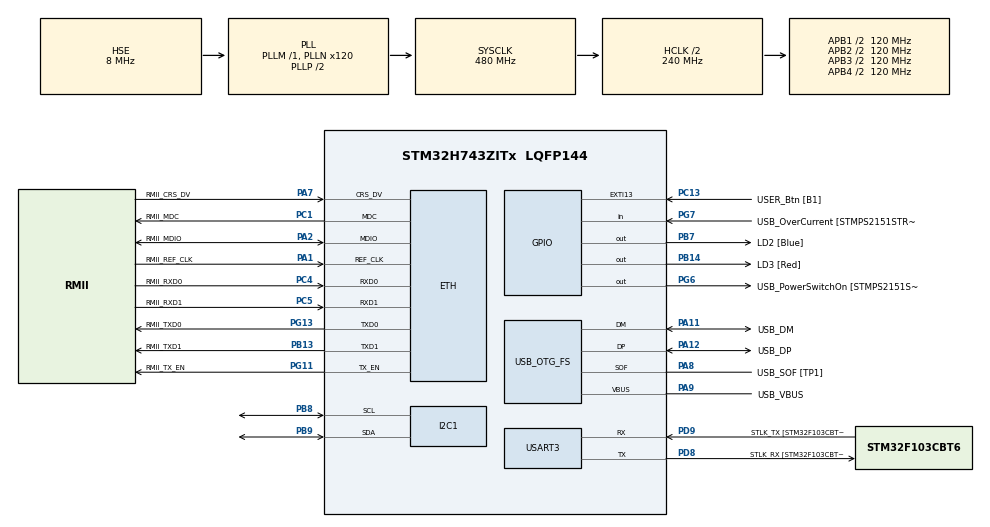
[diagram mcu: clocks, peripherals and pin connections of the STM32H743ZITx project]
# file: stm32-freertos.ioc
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Dma.Request0=USART3_RX
Dma.Request1=USART3_TX
Dma.USART3_RX.0.Direction=DMA_PERIPH_TO_MEMORY
Dma.USART3_RX.0.EventEnable=DISABLE
Dma.USART3_RX.0.FIFOMode=DMA_FIFOMODE_DISABLE
Dma.USART3_RX.0.Instance=DMA1_Stream0
Dma.USART3_RX.0.MemDataAlignment=DMA_MDATAALIGN_BYTE
Dma.USART3_RX.0.MemInc=DMA_MINC_ENABLE
Dma.USART3_RX.0.Mode=DMA_NORMAL
Dma.USART3_RX.0.PeriphDataAlignment=DMA_PDATAALIGN_BYTE
Dma.USART3_RX.0.PeriphInc=DMA_PINC_DISABLE
Dma.USART3_RX.0.Polarity=HAL_DMAMUX_REQ_GEN_RISING
Dma.USART3_RX.0.Priority=DMA_PRIORITY_LOW
Dma.USART3_RX.0.RequestNumber=1
Dma.USART3_RX.0.SignalID=NONE
Dma.USART3_RX.0.SyncEnable=DISABLE
Dma.USART3_RX.0.SyncPolarity=HAL_DMAMUX_SYNC_NO_EVENT
Dma.USART3_RX.0.SyncRequestNumber=1
Dma.USART3_RX.0.SyncSignalID=NONE
Dma.USART3_TX.1.Direction=DMA_MEMORY_TO_PERIPH
Dma.USART3_TX.1.EventEnable=DISABLE
Dma.USART3_TX.1.FIFOMode=DMA_FIFOMODE_DISABLE
Dma.USART3_TX.1.Instance=DMA1_Stream1
Dma.USART3_TX.1.MemDataAlignment=DMA_MDATAALIGN_BYTE
Dma.USART3_TX.1.MemInc=DMA_MINC_ENABLE
Dma.USART3_TX.1.Mode=DMA_NORMAL
Dma.USART3_TX.1.PeriphDataAlignment=DMA_PDATAALIGN_BYTE
Dma.USART3_TX.1.PeriphInc=DMA_PINC_DISABLE
Dma.USART3_TX.1.Polarity=HAL_DMAMUX_REQ_GEN_RISING
Dma.USART3_TX.1.Priority=DMA_PRIORITY_LOW
Dma.USART3_TX.1.RequestNumber=1
Dma.USART3_TX.1.SignalID=NONE
Dma.USART3_TX.1.SyncEnable=DISABLE
Dma.USART3_TX.1.SyncPolarity=HAL_DMAMUX_SYNC_NO_EVENT
Dma.USART3_TX.1.SyncRequestNumber=1
Dma.USART3_TX.1.SyncSignalID=NONE
ETH.MediaInterface=HAL_ETH_RMII_MODE
I2C1.Timing=0x307075B1
Mcu.Family=STM32H7
Mcu.Name=STM32H743ZITx
Mcu.Package=LQFP144
NVIC.DMA1_Stream0_IRQn=true\:0\:0\:false\:false\:true\:false\:true\:true
NVIC.DMA1_Stream1_IRQn=true\:0\:0\:false\:false\:true\:false\:true\:true
NVIC.PriorityGroup=NVIC_PRIORITYGROUP_4
NVIC.TIM17_IRQn=true\:15\:0\:false\:false\:true\:false\:true\:true
NVIC.TimeBase=TIM17_IRQn
NVIC.TimeBaseIP=TIM17
NVIC.USART3_IRQn=true\:0\:0\:false\:false\:true\:true\:true\:true
PA1.GPIO_Label=RMII_REF_CLK
PA1.Mode=RMII
PA1.Signal=ETH_REF_CLK
PA10.GPIO_Label=USB_ID
PA10.Signal=USB_OTG_FS_ID
PA11.GPIO_Label=USB_DM
PA11.Mode=Device_Only
PA11.Signal=USB_OTG_FS_DM
PA12.GPIO_Label=USB_DP
PA12.Mode=Device_Only
PA12.Signal=USB_OTG_FS_DP
PA13\ (JTMS/SWDIO).GPIO_Label=TMS
PA13\ (JTMS/SWDIO).Mode=Serial_Wire
PA13\ (JTMS/SWDIO).Signal=DEBUG_JTMS-SWDIO
PA14\ (JTCK/SWCLK).GPIO_Label=TCK
PA14\ (JTCK/SWCLK).Mode=Serial_Wire
PA14\ (JTCK/SWCLK).Signal=DEBUG_JTCK-SWCLK
PA2.GPIO_Label=RMII_MDIO
PA2.Mode=RMII
PA2.Signal=ETH_MDIO
PA7.GPIO_Label=RMII_CRS_DV
PA7.Mode=RMII
PA7.Signal=ETH_CRS_DV
PA8.GPIO_Label=USB_SOF [TP1]
PA8.Mode=Activate_SOF_FS
PA8.Signal=USB_OTG_FS_SOF
PA9.GPIO_Label=USB_VBUS
PA9.Mode=Activate_VBUS
PA9.Signal=USB_OTG_FS_VBUS
PB13.GPIO_Label=RMII_TXD1
PB13.Mode=RMII
PB13.Signal=ETH_TXD1
PB14.GPIO_Label=LD3 [Red]
PB14.Signal=GPIO_Output
PB7.GPIO_Label=LD2 [Blue]
PB7.Signal=GPIO_Output
PB8.Mode=I2C
PB8.Signal=I2C1_SCL
PB9.Mode=I2C
PB9.Signal=I2C1_SDA
PC1.GPIO_Label=RMII_MDC
PC1.Mode=RMII
PC1.Signal=ETH_MDC
PC13.GPIO_Label=USER_Btn [B1]
PC13.Signal=GPXTI13
PC14-OSC32_IN\ (OSC32_IN).Mode=LSE-External-Oscillator
PC14-OSC32_IN\ (OSC32_IN).Signal=RCC_OSC32_IN
PC15-OSC32_OUT\ (OSC32_OUT).Mode=LSE-External-Oscillator
PC15-OSC32_OUT\ (OSC32_OUT).Signal=RCC_OSC32_OUT
PC4.GPIO_Label=RMII_RXD0
PC4.Mode=RMII
PC4.Signal=ETH_RXD0
PC5.GPIO_Label=RMII_RXD1
PC5.Mode=RMII
PC5.Signal=ETH_RXD1
PD8.GPIO_Label=STLK_RX [STM32F103CBT6_PA3]
PD8.Mode=Asynchronous
PD8.Signal=USART3_TX
PD9.GPIO_Label=STLK_TX [STM32F103CBT6_PA2]
PD9.Mode=Asynchronous
PD9.Signal=USART3_RX
PG11.GPIO_Label=RMII_TX_EN
PG11.Mode=RMII
PG11.Signal=ETH_TX_EN
PG13.GPIO_Label=RMII_TXD0
PG13.Mode=RMII
PG13.Signal=ETH_TXD0
PG6.GPIO_Label=USB_PowerSwitchOn [STMPS2151STR_EN]
PG6.Signal=GPIO_Output
PG7.GPIO_Label=USB_OverCurrent [STMPS2151STR_FAULT]
PG7.Signal=GPIO_Input
PH0-OSC_IN\ (PH0).GPIO_Label=MCO
PH0-OSC_IN\ (PH0).Mode=HSE-External-Clock-Source
PH0-OSC_IN\ (PH0).Signal=RCC_OSC_IN
PH1-OSC_OUT\ (PH1).Signal=RCC_OSC_OUT
ProjectManager.HeapSize=0x200
ProjectManager.StackSize=0x400
ProjectManager.TargetToolchain=STM32CubeIDE
RCC.48MHZClocksFreq_Value=24000000
RCC.ADCFreq_Value=16125000
RCC.AHBFreq_Value=216000000
RCC.APB1CLKDivider=RCC_HCLK_DIV4
RCC.APB1Freq_Value=120000000
RCC.APB1TimFreq_Value=108000000
RCC.APB2CLKDivider=RCC_HCLK_DIV2
RCC.APB2Freq_Value=120000000
RCC.APB2TimFreq_Value=216000000
RCC.APB3Freq_Value=120000000
RCC.APB4Freq_Value=120000000
RCC.CortexFreq_Value=480000000
RCC.D1PPRE=RCC_APB3_DIV2
RCC.D2PPRE1=RCC_APB1_DIV2
RCC.D2PPRE2=RCC_APB2_DIV2
RCC.D3PPRE=RCC_APB4_DIV2
RCC.DIVM1=1
RCC.DIVN1=120
RCC.DIVQ1=4
RCC.HCLKFreq_Value=240000000
RCC.HPRE=RCC_HCLK_DIV2
RCC.HSE_VALUE=8000000
RCC.HSI_VALUE=64000000
RCC.PLL1_VCO_SEL-AdvancedSettings=RCC_PLL1VCOWIDE
RCC.PLLM=25
RCC.PLLMUL=RCC_PLL_MUL9
RCC.PLLN=432
RCC.PLLQ=9
RCC.PLLSourceVirtual=RCC_PLLSOURCE_HSE
RCC.PRESCALERUSB=RCC_USBCLKSOURCE_PLL_DIV1_5
RCC.PWR_Regulator_Voltage_Scale=PWR_REGULATOR_VOLTAGE_SCALE0
RCC.SYSCLKFreq_VALUE=480000000
RCC.SYSCLKSource=RCC_SYSCLKSOURCE_PLLCLK
RCC.SYSCLKSourceVirtual=RCC_SYSCLKSOURCE_PLLCLK
RCC.USBCLockSelection=RCC_USBCLKSOURCE_HSI48
RCC.USBFreq_Value=48000000
RCC.VCOOutputFreq_Value=432000000
USART3.VirtualMode-Asynchronous=VM_ASYNC
USB_OTG_FS.VirtualMode=Device_Only
VP_CRC_VS_CRC.Mode=CRC_Activate
VP_MEMORYMAP_VS_MEMORYMAP.Mode=CurAppReg
VP_RNG_VS_RNG.Mode=RNG_Activate
VP_SYS_VS_tim17.Mode=TIM17
board=NUCLEO-H743ZI

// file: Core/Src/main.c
/* USER CODE BEGIN Header */
/**
  ******************************************************************************
  * @file           : main.c
  * @brief          : Main program body
  ******************************************************************************
  * @attention
  *
  * Copyright (c) 2024 STMicroelectronics.
  * All rights reserved.
  *
  * This software is licensed under terms that can be found in the LICENSE file
  * in the root directory of this software component.
  * If no LICENSE file comes with this software, it is provided AS-IS.
  *
  ******************************************************************************
  */
/* USER CODE END Header */
#include "main.h"
#include "string.h"

/* USER CODE BEGIN Includes */
#include "FreeRTOS.h"
#include "task.h"

#include "logging.h"
#include "utils.h"
#include <stdio.h>
#include <stdbool.h>

/* USER CODE END Includes */

#if defined ( __ICCARM__ ) /*!< IAR Compiler */
#pragma location=0x30000000
ETH_DMADescTypeDef  DMARxDscrTab[ETH_RX_DESC_CNT]; /* Ethernet Rx DMA Descriptors */
#pragma location=0x30000080
ETH_DMADescTypeDef  DMATxDscrTab[ETH_TX_DESC_CNT]; /* Ethernet Tx DMA Descriptors */

#elif defined ( __CC_ARM )  /* MDK ARM Compiler */

__attribute__((at(0x30000000))) ETH_DMADescTypeDef  DMARxDscrTab[ETH_RX_DESC_CNT]; /* Ethernet Rx DMA Descriptors */
__attribute__((at(0x30000080))) ETH_DMADescTypeDef  DMATxDscrTab[ETH_TX_DESC_CNT]; /* Ethernet Tx DMA Descriptors */

#elif defined ( __GNUC__ ) /* GNU Compiler */

ETH_DMADescTypeDef DMARxDscrTab[ETH_RX_DESC_CNT] __attribute__((section(".RxDecripSection"))); /* Ethernet Rx DMA Descriptors */
ETH_DMADescTypeDef DMATxDscrTab[ETH_TX_DESC_CNT] __attribute__((section(".TxDecripSection")));   /* Ethernet Tx DMA Descriptors */
#endif

ETH_TxPacketConfig TxConfig;

CRC_HandleTypeDef hcrc;

ETH_HandleTypeDef heth;

I2C_HandleTypeDef hi2c1;

RNG_HandleTypeDef hrng;

UART_HandleTypeDef huart3;
DMA_HandleTypeDef hdma_usart3_rx;
DMA_HandleTypeDef hdma_usart3_tx;

PCD_HandleTypeDef hpcd_USB_OTG_FS;

/* USER CODE BEGIN PV */
uint8_t FIRMWARE_VERSION_DATA[3] = {1, 0, 0};

TaskHandle_t defaultTaskHandle;
void vDefaultTask(void *argument);

/* USER CODE END PV */

void SystemClock_Config(void);
static void MX_GPIO_Init(void);
static void MX_DMA_Init(void);
static void MX_ETH_Init(void);
static void MX_USART3_UART_Init(void);
static void MX_USB_OTG_FS_PCD_Init(void);
static void MX_CRC_Init(void);
static void MX_RNG_Init(void);
static void MX_I2C1_Init(void);

/* USER CODE BEGIN 0 */

/*
  Setup SVC to reset value.
*/
#define SVCall_IRQ_NBR            (IRQn_Type) -5	/* SVCall_IRQ_NBR added as SV_Call handler name is not the same for CM0 and for all other CMx */

__STATIC_INLINE void SVC_Setup (void) {
#if (__ARM_ARCH_7A__ == 0U)
  /* Service Call interrupt might be configured before kernel start     */
  /* and when its priority is lower or equal to BASEPRI, svc intruction */
  /* causes a Hard Fault.                                               */
  NVIC_SetPriority(SVCall_IRQ_NBR, 0U);
#endif
}

/* USER CODE END 0 */

int main(void)
{

  /* MCU Configuration--------------------------------------------------------*/

  /* Reset of all peripherals, Initializes the Flash interface and the Systick. */
  HAL_Init();

  /* Configure the system clock */
  SystemClock_Config();

  /* Initialize all configured peripherals */
  MX_GPIO_Init();
  MX_DMA_Init();
  MX_ETH_Init();
  MX_USART3_UART_Init();
  MX_USB_OTG_FS_PCD_Init();
  MX_CRC_Init();
  MX_RNG_Init();
  MX_I2C1_Init();
  /* USER CODE BEGIN 2 */

  printf("\033c");
  printf("STM32 FreeRTOS Kernel Demo FW v%d.%d.%d\r\n\r\n",FIRMWARE_VERSION_DATA[0], FIRMWARE_VERSION_DATA[1], FIRMWARE_VERSION_DATA[2]);
  printf("CPU Clock Frequency: %lu MHz\r\n", HAL_RCC_GetSysClockFreq() / 1000000);
  printf("Initializing, please wait ...\r\n");

  xTaskCreate(vDefaultTask, "Default Task", 128, NULL, 1, &defaultTaskHandle);

  /* Ensure SVC priority is at the reset value */
  SVC_Setup();

  printf("Staring Scheduler\r\n");

  /* Start the scheduler. */
  vTaskStartScheduler();

  /* USER CODE END 2 */

  /* Infinite loop */
  while (1)
  {

  }
}

void SystemClock_Config(void)
{
  RCC_OscInitTypeDef RCC_OscInitStruct = {0};
  RCC_ClkInitTypeDef RCC_ClkInitStruct = {0};

  /** Supply configuration update enable
  */
  HAL_PWREx_ConfigSupply(PWR_LDO_SUPPLY);

  /** Configure the main internal regulator output voltage
  */
  __HAL_PWR_VOLTAGESCALING_CONFIG(PWR_REGULATOR_VOLTAGE_SCALE1);

  while(!__HAL_PWR_GET_FLAG(PWR_FLAG_VOSRDY)) {}

  __HAL_RCC_SYSCFG_CLK_ENABLE();
  __HAL_PWR_VOLTAGESCALING_CONFIG(PWR_REGULATOR_VOLTAGE_SCALE0);

  while(!__HAL_PWR_GET_FLAG(PWR_FLAG_VOSRDY)) {}

  /** Initializes the RCC Oscillators according to the specified parameters
  * in the RCC_OscInitTypeDef structure.
  */
  RCC_OscInitStruct.OscillatorType = RCC_OSCILLATORTYPE_HSI48|RCC_OSCILLATORTYPE_HSE;
  RCC_OscInitStruct.HSEState = RCC_HSE_BYPASS;
  RCC_OscInitStruct.HSI48State = RCC_HSI48_ON;
  RCC_OscInitStruct.PLL.PLLState = RCC_PLL_ON;
  RCC_OscInitStruct.PLL.PLLSource = RCC_PLLSOURCE_HSE;
  RCC_OscInitStruct.PLL.PLLM = 1;
  RCC_OscInitStruct.PLL.PLLN = 120;
  RCC_OscInitStruct.PLL.PLLP = 2;
  RCC_OscInitStruct.PLL.PLLQ = 4;
  RCC_OscInitStruct.PLL.PLLR = 2;
  RCC_OscInitStruct.PLL.PLLRGE = RCC_PLL1VCIRANGE_3;
  RCC_OscInitStruct.PLL.PLLVCOSEL = RCC_PLL1VCOWIDE;
  RCC_OscInitStruct.PLL.PLLFRACN = 0;
  if (HAL_RCC_OscConfig(&RCC_OscInitStruct) != HAL_OK)
  {
    Error_Handler();
  }

  /** Initializes the CPU, AHB and APB buses clocks
  */
  RCC_ClkInitStruct.ClockType = RCC_CLOCKTYPE_HCLK|RCC_CLOCKTYPE_SYSCLK
                              |RCC_CLOCKTYPE_PCLK1|RCC_CLOCKTYPE_PCLK2
                              |RCC_CLOCKTYPE_D3PCLK1|RCC_CLOCKTYPE_D1PCLK1;
  RCC_ClkInitStruct.SYSCLKSource = RCC_SYSCLKSOURCE_PLLCLK;
  RCC_ClkInitStruct.SYSCLKDivider = RCC_SYSCLK_DIV1;
  RCC_ClkInitStruct.AHBCLKDivider = RCC_HCLK_DIV2;
  RCC_ClkInitStruct.APB3CLKDivider = RCC_APB3_DIV2;
  RCC_ClkInitStruct.APB1CLKDivider = RCC_APB1_DIV2;
  RCC_ClkInitStruct.APB2CLKDivider = RCC_APB2_DIV2;
  RCC_ClkInitStruct.APB4CLKDivider = RCC_APB4_DIV2;

  if (HAL_RCC_ClockConfig(&RCC_ClkInitStruct, FLASH_LATENCY_4) != HAL_OK)
  {
    Error_Handler();
  }
}

static void MX_CRC_Init(void)
{

  hcrc.Instance = CRC;
  hcrc.Init.DefaultPolynomialUse = DEFAULT_POLYNOMIAL_ENABLE;
  hcrc.Init.DefaultInitValueUse = DEFAULT_INIT_VALUE_ENABLE;
  hcrc.Init.InputDataInversionMode = CRC_INPUTDATA_INVERSION_NONE;
  hcrc.Init.OutputDataInversionMode = CRC_OUTPUTDATA_INVERSION_DISABLE;
  hcrc.InputDataFormat = CRC_INPUTDATA_FORMAT_BYTES;
  if (HAL_CRC_Init(&hcrc) != HAL_OK)
  {
    Error_Handler();
  }

}

static void MX_ETH_Init(void)
{

   static uint8_t MACAddr[6];

  heth.Instance = ETH;
  MACAddr[0] = 0x00;
  MACAddr[1] = 0x80;
  MACAddr[2] = 0xE1;
  MACAddr[3] = 0x00;
  MACAddr[4] = 0x00;
  MACAddr[5] = 0x00;
  heth.Init.MACAddr = &MACAddr[0];
  heth.Init.MediaInterface = HAL_ETH_RMII_MODE;
  heth.Init.TxDesc = DMATxDscrTab;
  heth.Init.RxDesc = DMARxDscrTab;
  heth.Init.RxBuffLen = 1524;

  if (HAL_ETH_Init(&heth) != HAL_OK)
  {
    Error_Handler();
  }

  memset(&TxConfig, 0 , sizeof(ETH_TxPacketConfig));
  TxConfig.Attributes = ETH_TX_PACKETS_FEATURES_CSUM | ETH_TX_PACKETS_FEATURES_CRCPAD;
  TxConfig.ChecksumCtrl = ETH_CHECKSUM_IPHDR_PAYLOAD_INSERT_PHDR_CALC;
  TxConfig.CRCPadCtrl = ETH_CRC_PAD_INSERT;

}

static void MX_I2C1_Init(void)
{

  hi2c1.Instance = I2C1;
  hi2c1.Init.Timing = 0x307075B1;
  hi2c1.Init.OwnAddress1 = 0;
  hi2c1.Init.AddressingMode = I2C_ADDRESSINGMODE_7BIT;
  hi2c1.Init.DualAddressMode = I2C_DUALADDRESS_DISABLE;
  hi2c1.Init.OwnAddress2 = 0;
  hi2c1.Init.OwnAddress2Masks = I2C_OA2_NOMASK;
  hi2c1.Init.GeneralCallMode = I2C_GENERALCALL_DISABLE;
  hi2c1.Init.NoStretchMode = I2C_NOSTRETCH_DISABLE;
  if (HAL_I2C_Init(&hi2c1) != HAL_OK)
  {
    Error_Handler();
  }

  /** Configure Analogue filter
  */
  if (HAL_I2CEx_ConfigAnalogFilter(&hi2c1, I2C_ANALOGFILTER_ENABLE) != HAL_OK)
  {
    Error_Handler();
  }

  /** Configure Digital filter
  */
  if (HAL_I2CEx_ConfigDigitalFilter(&hi2c1, 0) != HAL_OK)
  {
    Error_Handler();
  }

}

static void MX_RNG_Init(void)
{

  hrng.Instance = RNG;
  hrng.Init.ClockErrorDetection = RNG_CED_ENABLE;
  if (HAL_RNG_Init(&hrng) != HAL_OK)
  {
    Error_Handler();
  }

}

static void MX_USART3_UART_Init(void)
{

  huart3.Instance = USART3;
  huart3.Init.BaudRate = 115200;
  huart3.Init.WordLength = UART_WORDLENGTH_8B;
  huart3.Init.StopBits = UART_STOPBITS_1;
  huart3.Init.Parity = UART_PARITY_NONE;
  huart3.Init.Mode = UART_MODE_TX_RX;
  huart3.Init.HwFlowCtl = UART_HWCONTROL_NONE;
  huart3.Init.OverSampling = UART_OVERSAMPLING_16;
  huart3.Init.OneBitSampling = UART_ONE_BIT_SAMPLE_DISABLE;
  huart3.Init.ClockPrescaler = UART_PRESCALER_DIV1;
  huart3.AdvancedInit.AdvFeatureInit = UART_ADVFEATURE_NO_INIT;
  if (HAL_UART_Init(&huart3) != HAL_OK)
  {
    Error_Handler();
  }
  if (HAL_UARTEx_SetTxFifoThreshold(&huart3, UART_TXFIFO_THRESHOLD_1_8) != HAL_OK)
  {
    Error_Handler();
  }
  if (HAL_UARTEx_SetRxFifoThreshold(&huart3, UART_RXFIFO_THRESHOLD_1_8) != HAL_OK)
  {
    Error_Handler();
  }
  if (HAL_UARTEx_DisableFifoMode(&huart3) != HAL_OK)
  {
    Error_Handler();
  }

}

static void MX_USB_OTG_FS_PCD_Init(void)
{

  hpcd_USB_OTG_FS.Instance = USB_OTG_FS;
  hpcd_USB_OTG_FS.Init.dev_endpoints = 9;
  hpcd_USB_OTG_FS.Init.speed = PCD_SPEED_FULL;
  hpcd_USB_OTG_FS.Init.dma_enable = DISABLE;
  hpcd_USB_OTG_FS.Init.phy_itface = PCD_PHY_EMBEDDED;
  hpcd_USB_OTG_FS.Init.Sof_enable = ENABLE;
  hpcd_USB_OTG_FS.Init.low_power_enable = DISABLE;
  hpcd_USB_OTG_FS.Init.lpm_enable = DISABLE;
  hpcd_USB_OTG_FS.Init.battery_charging_enable = ENABLE;
  hpcd_USB_OTG_FS.Init.vbus_sensing_enable = ENABLE;
  hpcd_USB_OTG_FS.Init.use_dedicated_ep1 = DISABLE;
  if (HAL_PCD_Init(&hpcd_USB_OTG_FS) != HAL_OK)
  {
    Error_Handler();
  }

}

static void MX_DMA_Init(void)
{

  /* DMA controller clock enable */
  __HAL_RCC_DMA1_CLK_ENABLE();

  /* DMA interrupt init */
  /* DMA1_Stream0_IRQn interrupt configuration */
  HAL_NVIC_SetPriority(DMA1_Stream0_IRQn, 0, 0);
  HAL_NVIC_EnableIRQ(DMA1_Stream0_IRQn);
  /* DMA1_Stream1_IRQn interrupt configuration */
  HAL_NVIC_SetPriority(DMA1_Stream1_IRQn, 0, 0);
  HAL_NVIC_EnableIRQ(DMA1_Stream1_IRQn);

}

static void MX_GPIO_Init(void)
{
  GPIO_InitTypeDef GPIO_InitStruct = {0};

  /* GPIO Ports Clock Enable */
  __HAL_RCC_GPIOC_CLK_ENABLE();
  __HAL_RCC_GPIOH_CLK_ENABLE();
  __HAL_RCC_GPIOA_CLK_ENABLE();
  __HAL_RCC_GPIOB_CLK_ENABLE();
  __HAL_RCC_GPIOD_CLK_ENABLE();
  __HAL_RCC_GPIOG_CLK_ENABLE();

  /*Configure GPIO pin Output Level */
  HAL_GPIO_WritePin(GPIOB, LD3_Pin|LD2_Pin, GPIO_PIN_RESET);

  /*Configure GPIO pin Output Level */
  HAL_GPIO_WritePin(USB_PowerSwitchOn_GPIO_Port, USB_PowerSwitchOn_Pin, GPIO_PIN_RESET);

  /*Configure GPIO pin : USER_Btn_Pin */
  GPIO_InitStruct.Pin = USER_Btn_Pin;
  GPIO_InitStruct.Mode = GPIO_MODE_IT_RISING;
  GPIO_InitStruct.Pull = GPIO_NOPULL;
  HAL_GPIO_Init(USER_Btn_GPIO_Port, &GPIO_InitStruct);

  /*Configure GPIO pins : LD3_Pin LD2_Pin */
  GPIO_InitStruct.Pin = LD3_Pin|LD2_Pin;
  GPIO_InitStruct.Mode = GPIO_MODE_OUTPUT_PP;
  GPIO_InitStruct.Pull = GPIO_NOPULL;
  GPIO_InitStruct.Speed = GPIO_SPEED_FREQ_LOW;
  HAL_GPIO_Init(GPIOB, &GPIO_InitStruct);

  /*Configure GPIO pin : USB_PowerSwitchOn_Pin */
  GPIO_InitStruct.Pin = USB_PowerSwitchOn_Pin;
  GPIO_InitStruct.Mode = GPIO_MODE_OUTPUT_PP;
  GPIO_InitStruct.Pull = GPIO_NOPULL;
  GPIO_InitStruct.Speed = GPIO_SPEED_FREQ_LOW;
  HAL_GPIO_Init(USB_PowerSwitchOn_GPIO_Port, &GPIO_InitStruct);

  /*Configure GPIO pin : USB_OverCurrent_Pin */
  GPIO_InitStruct.Pin = USB_OverCurrent_Pin;
  GPIO_InitStruct.Mode = GPIO_MODE_INPUT;
  GPIO_InitStruct.Pull = GPIO_NOPULL;
  HAL_GPIO_Init(USB_OverCurrent_GPIO_Port, &GPIO_InitStruct);

}

/* USER CODE BEGIN 4 */

void HAL_UART_TxCpltCallback(UART_HandleTypeDef *huart)
{
	if(huart->Instance == USART3)
	{
		logging_UART_TxCpltCallback(huart);
	}
}

void vDefaultTask(void *argument)
{
  for(;;)
  {

    HAL_GPIO_TogglePin(LD2_GPIO_Port, LD2_Pin);
    vTaskDelay(250);
  }

}

void vApplicationIdleHook( void )
{
	volatile size_t xFreeStackSpace;
	/* This function is called on each cycle of the idle task.  In this case it
	does nothing useful, other than report the amout of FreeRTOS heap that
	remains unallocated. */
	xFreeStackSpace = xPortGetFreeHeapSize();

	if( xFreeStackSpace > 100 )
	{
		/* By now, the kernel has allocated everything it is going to, so
		if there is a lot of heap remaining unallocated then
		the value of configTOTAL_HEAP_SIZE in FreeRTOSConfig.h can be
		reduced accordingly. */
	}

}

void vApplicationMallocFailedHook( void )
{
	/* Called if a call to pvPortMalloc() fails because there is insufficient
	free memory available in the FreeRTOS heap.  pvPortMalloc() is called
	internally by FreeRTOS API functions that create tasks, queues, software
	timers, and semaphores.  The size of the FreeRTOS heap is set by the
	configTOTAL_HEAP_SIZE configuration constant in FreeRTOSConfig.h. */
	for( ;; );
}

void vApplicationStackOverflowHook( TaskHandle_t pxTask, char *pcTaskName )
{
	( void ) pcTaskName;
	( void ) pxTask;

	/* Run time stack overflow checking is performed if
	configconfigCHECK_FOR_STACK_OVERFLOW is defined to 1 or 2.  This hook
	function is called if a stack overflow is detected. */
	for( ;; );
}

/* USER CODE END 4 */

void HAL_TIM_PeriodElapsedCallback(TIM_HandleTypeDef *htim)
{
  if (htim->Instance == TIM17) {
    HAL_IncTick();
  }
}

void Error_Handler(void)
{
  __disable_irq();
  while (1)
  {
  }
}
